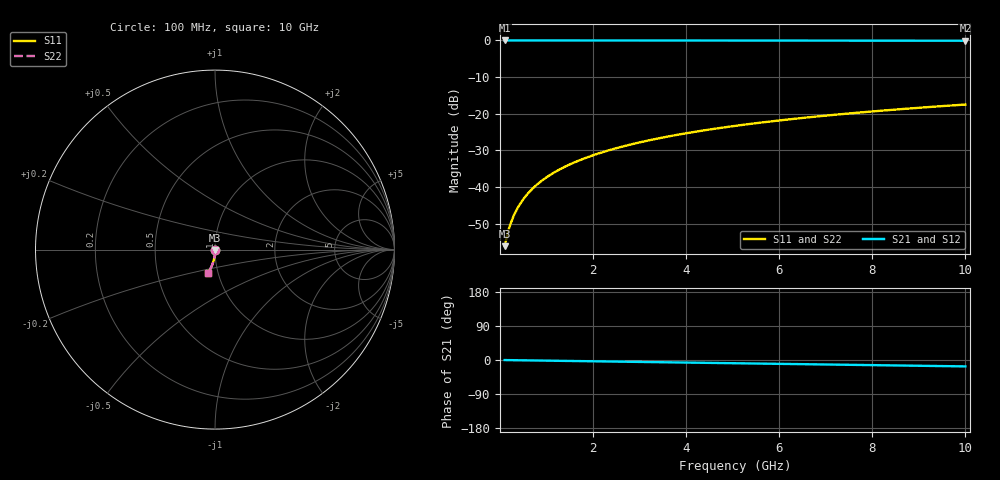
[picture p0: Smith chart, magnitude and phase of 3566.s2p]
# Hz S RI R 50.00
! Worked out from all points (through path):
!   100 points, 100 MHz to 10 GHz, reference 50 ohm
!   highest |S21| = -0.01 dB at 100 MHz (marker M1); lowest = -0.1 dB at 10 GHz (marker M2)
!   group delay of S21, straight-line fit = 4.69 ps
!   lowest |S11| = -56.1 dB at 100 MHz (marker M3), VSWR 1.00, Z = 50.1 - j0.136 ohm
!   |S11| at or under -10 dB: start of sweep to end of sweep
!   |S22| runs from -56.1 to -17.5 dB; largest |S21 - S12| = 0
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1e8  0.000775 -0.00136  0.9992 -0.00295  0.9992 -0.00295  0.000775 -0.00136
2e8  0.000767 -0.00272  0.9992 -0.00591  0.9992 -0.00591  0.000767 -0.00272
3e8  0.000748 -0.00408  0.9992 -0.00886  0.9992 -0.00886  0.000748 -0.00408
4e8  0.000721 -0.00544  0.9991 -0.0118  0.9991 -0.0118  0.000721 -0.00544
5e8  0.000686 -0.0068  0.9991 -0.0148  0.9991 -0.0148  0.000686 -0.0068
6e8  0.000642 -0.00816  0.999 -0.0177  0.999 -0.0177  0.000642 -0.00816
7e8  0.00059 -0.00952  0.9989 -0.0207  0.9989 -0.0207  0.00059 -0.00952
8e8  0.00053 -0.0109  0.9988 -0.0236  0.9988 -0.0236  0.00053 -0.0109
9e8  0.000461 -0.0122  0.9987 -0.0266  0.9987 -0.0266  0.000461 -0.0122
1.1e9  0.0003 -0.015  0.9985 -0.0325  0.9985 -0.0325  0.0003 -0.015
1.4e9  -2.17e-06 -0.019  0.9981 -0.0413  0.9981 -0.0413  -2.17e-06 -0.019
1.8e9  -0.000518 -0.0244  0.9974 -0.0531  0.9974 -0.0531  -0.000518 -0.0244
2.1e9  -0.000989 -0.0285  0.9968 -0.0619  0.9968 -0.0619  -0.000989 -0.0285
2.5e9  -0.00173 -0.0339  0.9958 -0.0737  0.9958 -0.0737  -0.00173 -0.0339
2.9e9  -0.0026 -0.0393  0.9947 -0.0855  0.9947 -0.0855  -0.0026 -0.0393
3.4e9  -0.00386 -0.0459  0.993 -0.1001  0.993 -0.1001  -0.00386 -0.0459
4.2e9  -0.00629 -0.0565  0.9898 -0.1235  0.9898 -0.1235  -0.00629 -0.0565
5.1e9  -0.00961 -0.0683  0.9854 -0.1496  0.9854 -0.1496  -0.00961 -0.0683
5.9e9  -0.0131 -0.0786  0.9807 -0.1727  0.9807 -0.1727  -0.0131 -0.0786
6.7e9  -0.017 -0.0887  0.9755 -0.1955  0.9755 -0.1955  -0.017 -0.0887
8.4e9  -0.027 -0.1095  0.9622 -0.2435  0.9622 -0.2435  -0.027 -0.1095
1e10  -0.0381 -0.128  0.9472 -0.2876  0.9472 -0.2876  -0.0381 -0.128
